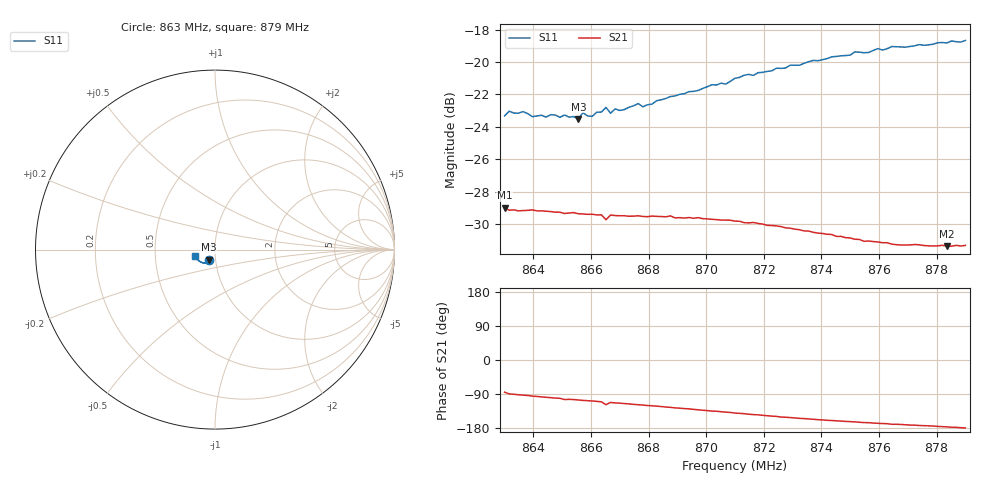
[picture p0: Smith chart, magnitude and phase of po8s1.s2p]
# HZ S RI R 50
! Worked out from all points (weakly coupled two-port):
!   101 points, 863 MHz to 879 MHz, reference 50 ohm
!   highest |S21| = -28.97 dB at 863 MHz (marker M1); lowest = -31.3 dB at 878.36 MHz (marker M2)
!   lowest |S11| = -23.5 dB at 865.56 MHz (marker M3), VSWR 1.14, Z = 46.2 - j5.23 ohm
!   |S11| at or under -10 dB: start of sweep to end of sweep
!   S12 and S22 are empty: the file has one direction only
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8.63e8  -0.0357 -0.0582  0.00311 -0.0355  0 0  0 0
8.6316e8  -0.0461 -0.0533  0.000369 -0.035  0 0  0 0
8.6364e8  -0.0419 -0.0565  -0.00168 -0.0348  0 0  0 0
8.6396e8  -0.0401 -0.0548  -0.00319 -0.0349  0 0  0 0
8.6508e8  -0.0377 -0.0574  -0.00845 -0.0331  0 0  0 0
8.6556e8  -0.0359 -0.0563  -0.00909 -0.0329  0 0  0 0
8.6572e8  -0.036 -0.0598  -0.00974 -0.0326  0 0  0 0
8.6604e8  -0.0351 -0.0582  -0.0106 -0.0323  0 0  0 0
8.6636e8  -0.0357 -0.0604  -0.0118 -0.0317  0 0  0 0
8.6652e8  -0.0388 -0.0612  -0.0153 -0.0289  0 0  0 0
8.6668e8  -0.035 -0.0601  -0.0126 -0.0313  0 0  0 0
8.6684e8  -0.0365 -0.0617  -0.0133 -0.0309  0 0  0 0
8.6716e8  -0.035 -0.0622  -0.0142 -0.0305  0 0  0 0
8.6764e8  -0.037 -0.0646  -0.0158 -0.0297  0 0  0 0
8.678e8  -0.0361 -0.0632  -0.0162 -0.0293  0 0  0 0
8.6844e8  -0.0385 -0.0661  -0.0182 -0.0281  0 0  0 0
8.7068e8  -0.0465 -0.0718  -0.024 -0.022  0 0  0 0
8.71e8  -0.0503 -0.0736  -0.0248 -0.0208  0 0  0 0
8.7372e8  -0.0692 -0.0738  -0.0274 -0.012  0 0  0 0
8.7644e8  -0.0936 -0.0607  -0.027 -0.00497  0 0  0 0
8.7836e8  -0.1059 -0.0434  -0.027 -0.00169  0 0  0 0
8.79e8  -0.1102 -0.0379  -0.0272 -0.000344  0 0  0 0
